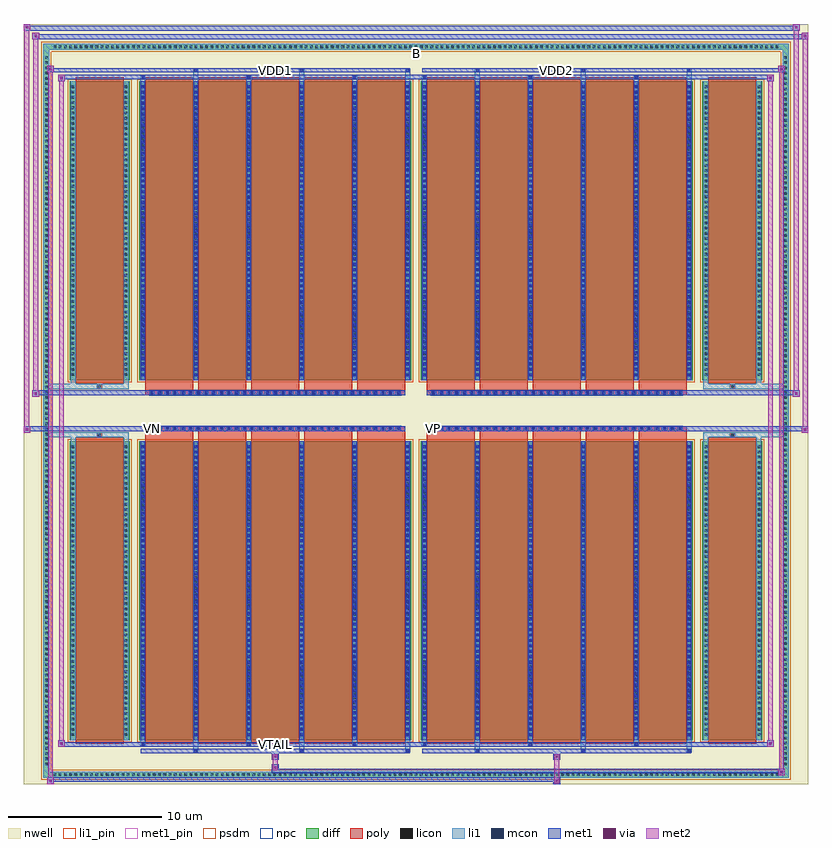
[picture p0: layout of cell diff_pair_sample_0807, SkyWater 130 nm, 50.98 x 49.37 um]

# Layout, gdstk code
import gdstk
lib = gdstk.Library(unit=1e-6, precision=5e-09)
def R(c, l, rs):  # rectangles x0, y0, x1, y1
    for r in rs: c.add(gdstk.rectangle(r[:2], r[2:], *l))
def A(c, l, x, y, w, h, nx, ny, dx, dy):  # array of equal rectangles
    R(c, l, [(x+i*dx, y+j*dy, x+i*dx+w, y+j*dy+h) for i in range(nx) for j in range(ny)])
def P(c, l, *ps):  # polygons
    for p in ps: c.add(gdstk.Polygon(p, *l))
nwell = (64, 20)
diff = (65, 20)
poly = (66, 20)
licon = (66, 44)
li1_pin = (67, 16)
li1 = (67, 20)
mcon = (67, 44)
met1_pin = (68, 16)
met1 = (68, 20)
via = (68, 44)
met2 = (69, 20)
psdm = (94, 20)
npc = (95, 20)

diff_pair_sample_0807 = lib.new_cell('diff_pair_sample_0807')
R(diff_pair_sample_0807, nwell, [(-25.49,-24.25,25.49,25.12), (-22.81,-22.44,-0.01,-0.8), (0.01,-22.44,22.81,-0.8), (-22.81,0.8,-0.01,22.44), (0.01,0.8,22.81,22.44)])
A(diff_pair_sample_0807, diff, -23.665, -23.85, 0.41, 0.41, 139, 2, 0.34, 47.29)
A(diff_pair_sample_0807, diff, -24.22, -23.155, 0.41, 0.41, 1, 136, 0, 0.34)
A(diff_pair_sample_0807, diff, 23.81, -23.155, 0.41, 0.41, 1, 136, 0, 0.34)
R(diff_pair_sample_0807, diff, [(-23.665,-23.85,23.665,-23.44), (-24.22,-23.155,-23.81,23.155), (23.81,-23.155,24.22,23.155), (-22.5,-21.395,-18.61,-1.985), (-17.97,-21.395,-0.32,-1.985), (0.32,-21.395,17.97,-1.985), (18.61,-21.395,22.5,-1.985), (-22.5,1.985,-18.61,21.395), (-17.97,1.985,-0.32,21.395), (0.32,1.985,17.97,21.395), (18.61,1.985,22.5,21.395), (-23.665,23.44,23.665,23.85)])
P(diff_pair_sample_0807, diff, [(24.22,23.85),(-24.22,23.85),(-24.22,-23.44),(-23.81,-23.44),(-23.81,23.44),(23.81,23.44),(23.81,-23.44),(-23.81,-23.44),(-24.22,-23.44),(-24.22,-23.85),(24.22,-23.85)])
A(diff_pair_sample_0807, poly, -17.58, -21.645, 3.11, 19.91, 5, 2, 3.44, 23.38)
A(diff_pair_sample_0807, poly, 0.71, -21.645, 3.11, 19.91, 5, 2, 3.44, 23.38)
A(diff_pair_sample_0807, poly, -17.58, -1.735, 3.11, 0.405, 5, 2, 3.44, 3.065)
A(diff_pair_sample_0807, poly, 0.71, -1.735, 3.11, 0.405, 5, 2, 3.44, 3.065)
A(diff_pair_sample_0807, poly, -17.31, -1.33, 0.33, 0.33, 33, 2, 0.5, 2.33)
A(diff_pair_sample_0807, poly, 0.98, -1.33, 0.33, 0.33, 33, 2, 0.5, 2.33)
R(diff_pair_sample_0807, poly, [(-22.11,-21.645,-19,-1.735), (19,-21.645,22.11,-1.735), (-20.72,-1.735,-20.39,-1.405), (-20.72,-1.735,-20.39,-1.405), (20.39,-1.735,20.72,-1.405), (20.39,-1.735,20.72,-1.405), (-17.58,-1.33,-0.71,-1), (0.71,-1.33,17.58,-1), (-17.58,1,-0.71,1.33), (0.71,1,17.58,1.33), (-20.72,1.405,-20.39,1.735), (-20.72,1.405,-20.39,1.735), (20.39,1.405,20.72,1.735), (20.39,1.405,20.72,1.735), (-22.11,1.735,-19,21.645), (19,1.735,22.11,21.645)])
A(diff_pair_sample_0807, licon, -23.545, -23.73, 0.17, 0.17, 139, 2, 0.34, 47.29)
A(diff_pair_sample_0807, licon, -24.1, -23.035, 0.17, 0.17, 1, 136, 0, 0.34)
A(diff_pair_sample_0807, licon, 23.93, -23.035, 0.17, 0.17, 1, 136, 0, 0.34)
A(diff_pair_sample_0807, licon, -22.36, -21.125, 0.17, 0.17, 1, 56, 0, 0.34)
A(diff_pair_sample_0807, licon, -18.92, -21.125, 0.17, 0.17, 1, 56, 0, 0.34)
A(diff_pair_sample_0807, licon, -17.83, -21.125, 0.17, 0.17, 6, 56, 3.44, 0.34)
A(diff_pair_sample_0807, licon, 0.46, -21.125, 0.17, 0.17, 6, 56, 3.44, 0.34)
A(diff_pair_sample_0807, licon, 18.75, -21.125, 0.17, 0.17, 1, 56, 0, 0.34)
A(diff_pair_sample_0807, licon, 22.19, -21.125, 0.17, 0.17, 1, 56, 0, 0.34)
A(diff_pair_sample_0807, licon, -17.23, -1.25, 0.17, 0.17, 33, 2, 0.5, 2.33)
A(diff_pair_sample_0807, licon, 1.06, -1.25, 0.17, 0.17, 33, 2, 0.5, 2.33)
A(diff_pair_sample_0807, licon, -22.36, 2.255, 0.17, 0.17, 1, 56, 0, 0.34)
A(diff_pair_sample_0807, licon, -18.92, 2.255, 0.17, 0.17, 1, 56, 0, 0.34)
A(diff_pair_sample_0807, licon, -17.83, 2.255, 0.17, 0.17, 6, 56, 3.44, 0.34)
A(diff_pair_sample_0807, licon, 0.46, 2.255, 0.17, 0.17, 6, 56, 3.44, 0.34)
A(diff_pair_sample_0807, licon, 18.75, 2.255, 0.17, 0.17, 1, 56, 0, 0.34)
A(diff_pair_sample_0807, licon, 22.19, 2.255, 0.17, 0.17, 1, 56, 0, 0.34)
R(diff_pair_sample_0807, licon, [(-20.64,-1.655,-20.47,-1.485), (20.47,-1.655,20.64,-1.485), (-20.64,1.485,-20.47,1.655), (20.47,1.485,20.64,1.655)])
R(diff_pair_sample_0807, li1_pin, [(-0.25,22.94,0.25,23.44)])
A(diff_pair_sample_0807, li1, -23.625, -23.81, 0.33, 0.33, 139, 2, 0.34, 47.29)
A(diff_pair_sample_0807, li1, -24.18, -23.115, 0.33, 0.33, 1, 136, 0, 0.34)
A(diff_pair_sample_0807, li1, 23.85, -23.115, 0.33, 0.33, 1, 136, 0, 0.34)
A(diff_pair_sample_0807, li1, -14.47, -22.2, 0.33, 0.805, 3, 2, 6.88, 43.595)
A(diff_pair_sample_0807, li1, -14.39, -22.2, 0.17, 0.17, 3, 2, 6.88, 44.23)
A(diff_pair_sample_0807, li1, 3.82, -22.2, 0.33, 0.805, 3, 2, 6.88, 43.595)
A(diff_pair_sample_0807, li1, 3.9, -22.2, 0.17, 0.17, 3, 2, 6.88, 44.23)
A(diff_pair_sample_0807, li1, -17.91, -21.77, 0.33, 0.375, 3, 2, 6.88, 43.165)
A(diff_pair_sample_0807, li1, -17.83, -21.77, 0.17, 0.17, 3, 2, 6.88, 43.37)
A(diff_pair_sample_0807, li1, 0.38, -21.77, 0.33, 0.375, 3, 2, 6.88, 43.165)
A(diff_pair_sample_0807, li1, 0.46, -21.77, 0.17, 0.17, 3, 2, 6.88, 43.37)
A(diff_pair_sample_0807, li1, -17.91, -21.395, 0.33, 19.41, 6, 2, 3.44, 23.38)
A(diff_pair_sample_0807, li1, 0.38, -21.395, 0.33, 19.41, 6, 2, 3.44, 23.38)
A(diff_pair_sample_0807, li1, -22.44, -21.205, 0.33, 0.33, 1, 56, 0, 0.34)
A(diff_pair_sample_0807, li1, -19, -21.205, 0.33, 0.33, 1, 56, 0, 0.34)
A(diff_pair_sample_0807, li1, -17.91, -21.205, 0.33, 0.33, 6, 56, 3.44, 0.34)
A(diff_pair_sample_0807, li1, 0.38, -21.205, 0.33, 0.33, 6, 56, 3.44, 0.34)
A(diff_pair_sample_0807, li1, 18.67, -21.205, 0.33, 0.33, 1, 56, 0, 0.34)
A(diff_pair_sample_0807, li1, 22.11, -21.205, 0.33, 0.33, 1, 56, 0, 0.34)
A(diff_pair_sample_0807, li1, -17.83, -21.135, 0.17, 0.17, 6, 53, 3.44, 0.36)
A(diff_pair_sample_0807, li1, -17.83, -21.135, 0.17, 18.89, 6, 2, 3.44, 23.38)
A(diff_pair_sample_0807, li1, 0.46, -21.135, 0.17, 0.17, 6, 53, 3.44, 0.36)
A(diff_pair_sample_0807, li1, 0.46, -21.135, 0.17, 18.89, 6, 2, 3.44, 23.38)
A(diff_pair_sample_0807, li1, -17.31, -1.33, 0.33, 0.33, 33, 2, 0.5, 2.33)
A(diff_pair_sample_0807, li1, 0.98, -1.33, 0.33, 0.33, 33, 2, 0.5, 2.33)
A(diff_pair_sample_0807, li1, -22.44, 2.175, 0.33, 0.33, 1, 56, 0, 0.34)
A(diff_pair_sample_0807, li1, -19, 2.175, 0.33, 0.33, 1, 56, 0, 0.34)
A(diff_pair_sample_0807, li1, -17.91, 2.175, 0.33, 0.33, 6, 56, 3.44, 0.34)
A(diff_pair_sample_0807, li1, 0.38, 2.175, 0.33, 0.33, 6, 56, 3.44, 0.34)
A(diff_pair_sample_0807, li1, 18.67, 2.175, 0.33, 0.33, 1, 56, 0, 0.34)
A(diff_pair_sample_0807, li1, 22.11, 2.175, 0.33, 0.33, 1, 56, 0, 0.34)
A(diff_pair_sample_0807, li1, -17.83, 2.245, 0.17, 0.17, 6, 53, 3.44, 0.36)
A(diff_pair_sample_0807, li1, 0.46, 2.245, 0.17, 0.17, 6, 53, 3.44, 0.36)
R(diff_pair_sample_0807, li1, [(-24.22,-23.85,-23.81,-23.44), (-24.22,-23.85,-23.81,-23.44), (-23.81,-23.85,23.81,-23.44), (23.81,-23.85,24.22,-23.44), (23.81,-23.85,24.22,-23.44), (-24.22,-23.44,-23.81,23.44), (23.81,-23.44,24.22,23.44), (-22.44,-21.395,-22.11,-1.985), (-19,-21.395,-18.67,-1.985), (18.67,-21.395,19,-1.985), (22.11,-21.395,22.44,-1.985), (-22.44,-1.985,-22.11,-1.405), (-19,-1.985,-18.67,-1.405), (18.67,-1.985,19,-1.405), (22.11,-1.985,22.44,-1.405), (-24.22,-1.735,-20.72,-1.405), (-22.44,-1.735,-20.72,-1.405), (-20.72,-1.735,-20.39,-1.405), (-20.39,-1.735,-18.67,-1.405), (18.67,-1.735,20.39,-1.405), (20.39,-1.735,20.72,-1.405), (20.39,-1.735,24.22,-1.405), (20.72,-1.735,22.44,-1.405), (-24.22,1.405,-20.72,1.735), (-22.44,1.405,-20.72,1.735), (-22.44,1.405,-22.11,1.985), (-20.72,1.405,-20.39,1.735), (-20.39,1.405,-18.67,1.735), (-19,1.405,-18.67,1.985), (18.67,1.405,20.39,1.735), (18.67,1.405,19,1.985), (20.39,1.405,20.72,1.735), (20.39,1.405,24.22,1.735), (20.72,1.405,22.44,1.735), (22.11,1.405,22.44,1.985), (-22.44,1.985,-22.11,21.395), (-19,1.985,-18.67,21.395), (18.67,1.985,19,21.395), (22.11,1.985,22.44,21.395), (-24.22,23.44,-23.81,23.85), (-24.22,23.44,-23.81,23.85), (-23.81,23.44,23.81,23.85), (23.81,23.44,24.22,23.85), (23.81,23.44,24.22,23.85)])
A(diff_pair_sample_0807, mcon, -14.39, -22.2, 0.17, 0.17, 3, 2, 6.88, 44.23)
A(diff_pair_sample_0807, mcon, 3.9, -22.2, 0.17, 0.17, 3, 2, 6.88, 44.23)
A(diff_pair_sample_0807, mcon, -17.83, -21.77, 0.17, 0.17, 3, 2, 6.88, 43.37)
A(diff_pair_sample_0807, mcon, 0.46, -21.77, 0.17, 0.17, 3, 2, 6.88, 43.37)
A(diff_pair_sample_0807, mcon, -17.83, -21.135, 0.17, 0.17, 6, 53, 3.44, 0.36)
A(diff_pair_sample_0807, mcon, 0.46, -21.135, 0.17, 0.17, 6, 53, 3.44, 0.36)
A(diff_pair_sample_0807, mcon, -17.23, -1.25, 0.17, 0.17, 33, 2, 0.5, 2.33)
A(diff_pair_sample_0807, mcon, 1.06, -1.25, 0.17, 0.17, 33, 2, 0.5, 2.33)
A(diff_pair_sample_0807, mcon, -17.83, 2.245, 0.17, 0.17, 6, 53, 3.44, 0.36)
A(diff_pair_sample_0807, mcon, 0.46, 2.245, 0.17, 0.17, 6, 53, 3.44, 0.36)
R(diff_pair_sample_0807, met1_pin, [(-9.28,-21.81,-9.01,-21.54), (-17.28,-1.29,-17.01,-1.02), (1.01,-1.29,1.28,-1.02), (-9.28,21.99,-9.01,22.26), (9.01,21.99,9.28,22.26)])
A(diff_pair_sample_0807, met1, -14.45, -22.26, 0.29, 0.29, 3, 2, 6.88, 44.23)
A(diff_pair_sample_0807, met1, 3.84, -22.26, 0.29, 0.29, 3, 2, 6.88, 44.23)
A(diff_pair_sample_0807, met1, -17.89, -21.83, 0.29, 0.29, 3, 2, 6.88, 43.37)
A(diff_pair_sample_0807, met1, 0.4, -21.83, 0.29, 0.29, 3, 2, 6.88, 43.37)
A(diff_pair_sample_0807, met1, -17.89, -21.395, 0.29, 19.41, 6, 2, 3.44, 23.38)
A(diff_pair_sample_0807, met1, 0.4, -21.395, 0.29, 19.41, 6, 2, 3.44, 23.38)
A(diff_pair_sample_0807, met1, -17.89, -21.195, 0.29, 0.29, 6, 53, 3.44, 0.36)
A(diff_pair_sample_0807, met1, 0.4, -21.195, 0.29, 0.29, 6, 53, 3.44, 0.36)
A(diff_pair_sample_0807, met1, -17.29, -1.31, 0.29, 0.29, 33, 2, 0.5, 2.33)
A(diff_pair_sample_0807, met1, 1, -1.31, 0.29, 0.29, 33, 2, 0.5, 2.33)
A(diff_pair_sample_0807, met1, -17.89, 2.185, 0.29, 0.29, 6, 53, 3.44, 0.36)
A(diff_pair_sample_0807, met1, 0.4, 2.185, 0.29, 0.29, 6, 53, 3.44, 0.36)
R(diff_pair_sample_0807, met1, [(-23.95,-24.25,-23.52,-23.82), (8.93,-24.25,9.36,-23.82), (-23.95,-24.11,9.36,-23.82), (23.52,-23.68,23.95,-23.25), (-9.36,-23.54,23.95,-23.25), (-9.36,-23.4,-8.93,-22.97), (-9.36,-22.69,-8.93,-22.26), (8.93,-22.69,9.36,-22.26), (-17.89,-22.26,-0.4,-21.97), (0.4,-22.26,17.89,-21.97), (-23.24,-21.83,-22.81,-21.4), (-23.24,-21.83,-17.89,-21.54), (-17.89,-21.83,-0.4,-21.54), (-0.4,-21.83,0.4,-21.54), (0.4,-21.83,17.89,-21.54), (17.89,-21.83,23.24,-21.54), (22.81,-21.83,23.24,-21.4), (-25.49,-1.43,-25.06,-1), (25.06,-1.43,25.49,-1), (-25.49,-1.33,-0.71,-1), (-17.58,-1.33,-0.71,-1), (0.71,-1.33,17.58,-1), (0.71,-1.33,25.49,-1), (-24.92,0.9,-24.49,1.33), (24.49,0.9,24.92,1.33), (-24.92,1,-17.58,1.33), (-17.58,1,-0.71,1.33), (0.71,1,17.58,1.33), (17.58,1,24.92,1.33), (-23.24,21.4,-22.81,21.83), (22.81,21.4,23.24,21.83), (-23.24,21.54,-17.89,21.83), (-17.89,21.54,-0.4,21.83), (-0.4,21.54,0.4,21.83), (0.4,21.54,17.89,21.83), (17.89,21.54,23.24,21.83), (-23.95,21.97,-23.52,22.4), (-23.95,21.97,-17.89,22.26), (-17.89,21.97,-0.4,22.26), (0.4,21.97,17.89,22.26), (17.89,21.97,23.95,22.26), (23.52,21.97,23.95,22.4), (-24.92,24.12,-24.49,24.55), (-24.92,24.12,-22.81,24.45), (-22.81,24.12,22.81,24.45), (22.81,24.12,25.49,24.45), (25.06,24.12,25.49,24.55), (-25.49,24.69,-25.06,25.12), (-25.49,24.69,-22.81,25.02), (-22.81,24.69,22.81,25.02), (22.81,24.69,24.92,25.02), (24.49,24.69,24.92,25.12)])
R(diff_pair_sample_0807, via, [(-23.81,-24.11,-23.66,-23.96), (9.07,-24.11,9.22,-23.96), (23.66,-23.54,23.81,-23.39), (-9.22,-23.26,-9.07,-23.11), (-9.22,-22.55,-9.07,-22.4), (9.07,-22.55,9.22,-22.4), (-23.1,-21.69,-22.95,-21.54), (22.95,-21.69,23.1,-21.54), (-25.35,-1.29,-25.2,-1.14), (25.2,-1.29,25.35,-1.14), (-24.78,1.04,-24.63,1.19), (24.63,1.04,24.78,1.19), (-23.1,21.54,-22.95,21.69), (22.95,21.54,23.1,21.69), (-23.81,22.11,-23.66,22.26), (23.66,22.11,23.81,22.26), (-24.78,24.26,-24.63,24.41), (25.2,24.26,25.35,24.41), (-25.35,24.83,-25.2,24.98), (24.63,24.83,24.78,24.98)])
R(diff_pair_sample_0807, met2, [(-23.95,-24.25,-23.52,-23.82), (-23.88,-24.25,-23.59,22.4), (-23.59,-24.25,-23.52,-23.82), (-23.9,-24.2,-23.57,-23.87), (8.98,-24.2,9.31,-23.87), (8.98,-23.87,9.31,-22.64), (23.52,-23.68,23.95,-23.25), (23.59,-23.68,23.88,22.4), (23.88,-23.68,23.95,-23.25), (23.57,-23.63,23.9,-23.3), (-9.31,-23.35,-8.98,-23.02), (-9.31,-23.02,-8.98,-22.64), (-9.31,-22.64,-8.98,-22.31), (8.98,-22.64,9.31,-22.31), (-23.24,-21.83,-22.81,-21.4), (-23.17,-21.83,-22.88,21.83), (-22.88,-21.83,-22.81,-21.4), (22.81,-21.83,23.24,-21.4), (22.88,-21.83,23.17,21.83), (23.17,-21.83,23.24,-21.4), (-23.19,-21.78,-22.86,-21.45), (22.86,-21.78,23.19,-21.45), (-25.49,-1.43,-25.06,-1), (-25.44,-1.43,-25.11,25.12), (-25.11,-1.43,-25.06,-1), (25.06,-1.43,25.49,-1), (25.11,-1.43,25.44,24.55), (25.44,-1.43,25.49,-1), (-25.44,-1.38,-25.11,-1.05), (25.11,-1.38,25.44,-1.05), (-24.92,0.9,-24.49,1.33), (-24.87,0.9,-24.54,24.55), (-24.54,0.9,-24.49,1.33), (24.49,0.9,24.92,1.33), (24.54,0.9,24.87,25.12), (24.87,0.9,24.92,1.33), (-24.87,0.95,-24.54,1.28), (24.54,0.95,24.87,1.28), (-23.24,21.4,-22.81,21.83), (-22.88,21.4,-22.81,21.83), (22.81,21.4,23.24,21.83), (23.17,21.4,23.24,21.83), (-23.19,21.45,-22.86,21.78), (22.86,21.45,23.19,21.78), (-23.95,21.97,-23.52,22.4), (-23.59,21.97,-23.52,22.4), (23.52,21.97,23.95,22.4), (23.88,21.97,23.95,22.4), (-23.9,22.02,-23.57,22.35), (23.57,22.02,23.9,22.35), (-24.92,24.12,-24.49,24.55), (-24.54,24.12,-24.49,24.55), (25.06,24.12,25.49,24.55), (25.44,24.12,25.49,24.55), (-24.87,24.17,-24.54,24.5), (25.11,24.17,25.44,24.5), (-25.49,24.69,-25.06,25.12), (-25.11,24.69,-25.06,25.12), (24.49,24.69,24.92,25.12), (24.87,24.69,24.92,25.12), (-25.44,24.74,-25.11,25.07), (24.54,24.74,24.87,25.07)])
R(diff_pair_sample_0807, psdm, [(-22.63,-21.525,-18.48,-1.855), (-18.1,-21.525,-0.19,-1.855), (0.19,-21.525,18.1,-1.855), (18.48,-21.525,22.63,-1.855), (-22.63,1.855,-18.48,21.525), (-18.1,1.855,-0.19,21.525), (0.19,1.855,18.1,21.525), (18.48,1.855,22.63,21.525)])
P(diff_pair_sample_0807, psdm, [(24.35,23.98),(-24.35,23.98),(-24.35,-23.31),(-23.68,-23.31),(-23.68,23.31),(23.68,23.31),(23.68,-23.31),(-23.68,-23.31),(-24.35,-23.31),(-24.35,-23.98),(24.35,-23.98)])
A(diff_pair_sample_0807, npc, -17.33, -1.35, 0.37, 0.37, 33, 2, 0.5, 2.33)
A(diff_pair_sample_0807, npc, 0.96, -1.35, 0.37, 0.37, 33, 2, 0.5, 2.33)
R(diff_pair_sample_0807, npc, [(-20.74,-1.755,-20.37,-1.385), (20.37,-1.755,20.74,-1.385), (-17.33,-1.35,-16.46,-0.98), (-17.33,-1.35,-16.46,-0.98), (-16.83,-1.35,-15.96,-0.98), (-16.83,-1.35,-15.96,-0.98), (-16.33,-1.35,-15.46,-0.98), (-16.33,-1.35,-15.46,-0.98), (-15.83,-1.35,-14.96,-0.98), (-15.83,-1.35,-14.96,-0.98), (-15.33,-1.35,-14.46,-0.98), (-15.33,-1.35,-14.46,-0.98), (-14.83,-1.35,-13.96,-0.98), (-14.83,-1.35,-13.96,-0.98), (-14.33,-1.35,-13.46,-0.98), (-14.33,-1.35,-13.46,-0.98), (-13.83,-1.35,-12.96,-0.98), (-13.83,-1.35,-12.96,-0.98), (-13.33,-1.35,-12.46,-0.98), (-13.33,-1.35,-12.46,-0.98), (-12.83,-1.35,-11.96,-0.98), (-12.83,-1.35,-11.96,-0.98), (-12.33,-1.35,-11.46,-0.98), (-12.33,-1.35,-11.46,-0.98), (-11.83,-1.35,-10.96,-0.98), (-11.83,-1.35,-10.96,-0.98), (-11.33,-1.35,-10.46,-0.98), (-11.33,-1.35,-10.46,-0.98), (-10.83,-1.35,-9.96,-0.98), (-10.83,-1.35,-9.96,-0.98), (-10.33,-1.35,-9.46,-0.98), (-10.33,-1.35,-9.46,-0.98), (-9.83,-1.35,-8.96,-0.98), (-9.83,-1.35,-8.96,-0.98), (-9.33,-1.35,-8.46,-0.98), (-9.33,-1.35,-8.46,-0.98), (-8.83,-1.35,-7.96,-0.98), (-8.83,-1.35,-7.96,-0.98), (-8.33,-1.35,-7.46,-0.98), (-8.33,-1.35,-7.46,-0.98), (-7.83,-1.35,-6.96,-0.98), (-7.83,-1.35,-6.96,-0.98), (-7.33,-1.35,-6.46,-0.98), (-7.33,-1.35,-6.46,-0.98), (-6.83,-1.35,-5.96,-0.98), (-6.83,-1.35,-5.96,-0.98), (-6.33,-1.35,-5.46,-0.98), (-6.33,-1.35,-5.46,-0.98), (-5.83,-1.35,-4.96,-0.98), (-5.83,-1.35,-4.96,-0.98), (-5.33,-1.35,-4.46,-0.98), (-5.33,-1.35,-4.46,-0.98), (-4.83,-1.35,-3.96,-0.98), (-4.83,-1.35,-3.96,-0.98), (-4.33,-1.35,-3.46,-0.98), (-4.33,-1.35,-3.46,-0.98), (-3.83,-1.35,-2.96,-0.98), (-3.83,-1.35,-2.96,-0.98), (-3.33,-1.35,-2.46,-0.98), (-3.33,-1.35,-2.46,-0.98), (-2.83,-1.35,-1.96,-0.98), (-2.83,-1.35,-1.96,-0.98), (-2.33,-1.35,-1.46,-0.98), (-2.33,-1.35,-1.46,-0.98), (-1.83,-1.35,-0.96,-0.98), (-1.83,-1.35,-0.96,-0.98), (0.96,-1.35,1.83,-0.98), (0.96,-1.35,1.83,-0.98), (1.46,-1.35,2.33,-0.98), (1.46,-1.35,2.33,-0.98), (1.96,-1.35,2.83,-0.98), (1.96,-1.35,2.83,-0.98), (2.46,-1.35,3.33,-0.98), (2.46,-1.35,3.33,-0.98), (2.96,-1.35,3.83,-0.98), (2.96,-1.35,3.83,-0.98), (3.46,-1.35,4.33,-0.98), (3.46,-1.35,4.33,-0.98), (3.96,-1.35,4.83,-0.98), (3.96,-1.35,4.83,-0.98), (4.46,-1.35,5.33,-0.98), (4.46,-1.35,5.33,-0.98), (4.96,-1.35,5.83,-0.98), (4.96,-1.35,5.83,-0.98), (5.46,-1.35,6.33,-0.98), (5.46,-1.35,6.33,-0.98), (5.96,-1.35,6.83,-0.98), (5.96,-1.35,6.83,-0.98), (6.46,-1.35,7.33,-0.98), (6.46,-1.35,7.33,-0.98), (6.96,-1.35,7.83,-0.98), (6.96,-1.35,7.83,-0.98), (7.46,-1.35,8.33,-0.98), (7.46,-1.35,8.33,-0.98), (7.96,-1.35,8.83,-0.98), (7.96,-1.35,8.83,-0.98), (8.46,-1.35,9.33,-0.98), (8.46,-1.35,9.33,-0.98), (8.96,-1.35,9.83,-0.98), (8.96,-1.35,9.83,-0.98), (9.46,-1.35,10.33,-0.98), (9.46,-1.35,10.33,-0.98), (9.96,-1.35,10.83,-0.98), (9.96,-1.35,10.83,-0.98), (10.46,-1.35,11.33,-0.98), (10.46,-1.35,11.33,-0.98), (10.96,-1.35,11.83,-0.98), (10.96,-1.35,11.83,-0.98), (11.46,-1.35,12.33,-0.98), (11.46,-1.35,12.33,-0.98), (11.96,-1.35,12.83,-0.98), (11.96,-1.35,12.83,-0.98), (12.46,-1.35,13.33,-0.98), (12.46,-1.35,13.33,-0.98), (12.96,-1.35,13.83,-0.98), (12.96,-1.35,13.83,-0.98), (13.46,-1.35,14.33,-0.98), (13.46,-1.35,14.33,-0.98), (13.96,-1.35,14.83,-0.98), (13.96,-1.35,14.83,-0.98), (14.46,-1.35,15.33,-0.98), (14.46,-1.35,15.33,-0.98), (14.96,-1.35,15.83,-0.98), (14.96,-1.35,15.83,-0.98), (15.46,-1.35,16.33,-0.98), (15.46,-1.35,16.33,-0.98), (15.96,-1.35,16.83,-0.98), (15.96,-1.35,16.83,-0.98), (16.46,-1.35,17.33,-0.98), (16.46,-1.35,17.33,-0.98), (-17.33,0.98,-16.46,1.35), (-17.33,0.98,-16.46,1.35), (-16.83,0.98,-15.96,1.35), (-16.83,0.98,-15.96,1.35), (-16.33,0.98,-15.46,1.35), (-16.33,0.98,-15.46,1.35), (-15.83,0.98,-14.96,1.35), (-15.83,0.98,-14.96,1.35), (-15.33,0.98,-14.46,1.35), (-15.33,0.98,-14.46,1.35), (-14.83,0.98,-13.96,1.35), (-14.83,0.98,-13.96,1.35), (-14.33,0.98,-13.46,1.35), (-14.33,0.98,-13.46,1.35), (-13.83,0.98,-12.96,1.35), (-13.83,0.98,-12.96,1.35), (-13.33,0.98,-12.46,1.35), (-13.33,0.98,-12.46,1.35), (-12.83,0.98,-11.96,1.35), (-12.83,0.98,-11.96,1.35), (-12.33,0.98,-11.46,1.35), (-12.33,0.98,-11.46,1.35), (-11.83,0.98,-10.96,1.35), (-11.83,0.98,-10.96,1.35), (-11.33,0.98,-10.46,1.35), (-11.33,0.98,-10.46,1.35), (-10.83,0.98,-9.96,1.35), (-10.83,0.98,-9.96,1.35), (-10.33,0.98,-9.46,1.35), (-10.33,0.98,-9.46,1.35), (-9.83,0.98,-8.96,1.35), (-9.83,0.98,-8.96,1.35), (-9.33,0.98,-8.46,1.35), (-9.33,0.98,-8.46,1.35), (-8.83,0.98,-7.96,1.35), (-8.83,0.98,-7.96,1.35), (-8.33,0.98,-7.46,1.35), (-8.33,0.98,-7.46,1.35), (-7.83,0.98,-6.96,1.35), (-7.83,0.98,-6.96,1.35), (-7.33,0.98,-6.46,1.35), (-7.33,0.98,-6.46,1.35), (-6.83,0.98,-5.96,1.35), (-6.83,0.98,-5.96,1.35), (-6.33,0.98,-5.46,1.35), (-6.33,0.98,-5.46,1.35), (-5.83,0.98,-4.96,1.35), (-5.83,0.98,-4.96,1.35), (-5.33,0.98,-4.46,1.35), (-5.33,0.98,-4.46,1.35), (-4.83,0.98,-3.96,1.35), (-4.83,0.98,-3.96,1.35), (-4.33,0.98,-3.46,1.35), (-4.33,0.98,-3.46,1.35), (-3.83,0.98,-2.96,1.35), (-3.83,0.98,-2.96,1.35), (-3.33,0.98,-2.46,1.35), (-3.33,0.98,-2.46,1.35), (-2.83,0.98,-1.96,1.35), (-2.83,0.98,-1.96,1.35), (-2.33,0.98,-1.46,1.35), (-2.33,0.98,-1.46,1.35), (-1.83,0.98,-0.96,1.35), (-1.83,0.98,-0.96,1.35), (0.96,0.98,1.83,1.35), (0.96,0.98,1.83,1.35), (1.46,0.98,2.33,1.35), (1.46,0.98,2.33,1.35), (1.96,0.98,2.83,1.35), (1.96,0.98,2.83,1.35), (2.46,0.98,3.33,1.35), (2.46,0.98,3.33,1.35), (2.96,0.98,3.83,1.35), (2.96,0.98,3.83,1.35), (3.46,0.98,4.33,1.35), (3.46,0.98,4.33,1.35), (3.96,0.98,4.83,1.35), (3.96,0.98,4.83,1.35), (4.46,0.98,5.33,1.35), (4.46,0.98,5.33,1.35), (4.96,0.98,5.83,1.35), (4.96,0.98,5.83,1.35), (5.46,0.98,6.33,1.35), (5.46,0.98,6.33,1.35), (5.96,0.98,6.83,1.35), (5.96,0.98,6.83,1.35), (6.46,0.98,7.33,1.35), (6.46,0.98,7.33,1.35), (6.96,0.98,7.83,1.35), (6.96,0.98,7.83,1.35), (7.46,0.98,8.33,1.35), (7.46,0.98,8.33,1.35), (7.96,0.98,8.83,1.35), (7.96,0.98,8.83,1.35), (8.46,0.98,9.33,1.35), (8.46,0.98,9.33,1.35), (8.96,0.98,9.83,1.35), (8.96,0.98,9.83,1.35), (9.46,0.98,10.33,1.35), (9.46,0.98,10.33,1.35), (9.96,0.98,10.83,1.35), (9.96,0.98,10.83,1.35), (10.46,0.98,11.33,1.35), (10.46,0.98,11.33,1.35), (10.96,0.98,11.83,1.35), (10.96,0.98,11.83,1.35), (11.46,0.98,12.33,1.35), (11.46,0.98,12.33,1.35), (11.96,0.98,12.83,1.35), (11.96,0.98,12.83,1.35), (12.46,0.98,13.33,1.35), (12.46,0.98,13.33,1.35), (12.96,0.98,13.83,1.35), (12.96,0.98,13.83,1.35), (13.46,0.98,14.33,1.35), (13.46,0.98,14.33,1.35), (13.96,0.98,14.83,1.35), (13.96,0.98,14.83,1.35), (14.46,0.98,15.33,1.35), (14.46,0.98,15.33,1.35), (14.96,0.98,15.83,1.35), (14.96,0.98,15.83,1.35), (15.46,0.98,16.33,1.35), (15.46,0.98,16.33,1.35), (15.96,0.98,16.83,1.35), (15.96,0.98,16.83,1.35), (16.46,0.98,17.33,1.35), (16.46,0.98,17.33,1.35), (-20.74,1.385,-20.37,1.755), (20.37,1.385,20.74,1.755)])
diff_pair_sample_0807.add(gdstk.Label('VTAIL', (-9.145,-21.675), layer=68, texttype=5))
diff_pair_sample_0807.add(gdstk.Label('VN', (-17.145,-1.155), layer=68, texttype=5))
diff_pair_sample_0807.add(gdstk.Label('VP', (1.145,-1.155), layer=68, texttype=5))
diff_pair_sample_0807.add(gdstk.Label('B', (0,23.19), layer=67, texttype=5))
diff_pair_sample_0807.add(gdstk.Label('VDD2', (9.145,22.125), layer=68, texttype=5))
diff_pair_sample_0807.add(gdstk.Label('VDD1', (-9.145,22.125), layer=68, texttype=5))

lib.write_gds('diff_pair_sample_0807.gds')
